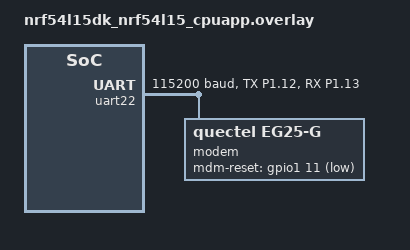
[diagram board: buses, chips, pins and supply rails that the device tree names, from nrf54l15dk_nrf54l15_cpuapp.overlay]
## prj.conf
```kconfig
# Copyright (c) 2023 Bjarki Arge Andreasen
# SPDX-License-Identifier: Apache-2.0

CONFIG_POSIX_API=y

# Networking
CONFIG_NETWORKING=y
CONFIG_NET_NATIVE=y
CONFIG_NET_L2_PPP=y
CONFIG_NET_IPV4=y
CONFIG_NET_IPV6=n
CONFIG_NET_UDP=y
CONFIG_NET_SOCKETS=y
CONFIG_NET_CONTEXT_RCVTIMEO=y

# DNS
CONFIG_DNS_RESOLVER=y
CONFIG_NET_L2_PPP_OPTION_DNS_USE=y

# Network management
CONFIG_NET_MGMT=y
CONFIG_NET_MGMT_EVENT=y
CONFIG_NET_CONNECTION_MANAGER=y

# Modem driver
CONFIG_MODEM=y
CONFIG_PM_DEVICE=y
CONFIG_MODEM_CELLULAR=y

# Statistics
CONFIG_MODEM_STATS=y
CONFIG_SHELL=y

# Testing
CONFIG_MODEM_AT_SHELL=y
CONFIG_PM_DEVICE_SHELL=y
CONFIG_SHELL_WILDCARD=n

# Logging

# For extra verbosity
# CONFIG_MODEM_CMUX_LOG_LEVEL_DBG=y
# CONFIG_LOG_BUFFER_SIZE=65536


CONFIG_UART_ASYNC_API=y
CONFIG_UART_LOG_LEVEL_DBG=y
CONFIG_MODEM_CELLULAR_APN="cmiot"
CONFIG_ZVFS_POLL_MAX=5


CONFIG_DNS_RESOLVER=y
CONFIG_NET_SHELL=y
CONFIG_DNS_RESOLVER_MAX_SERVERS=2
CONFIG_DNS_SERVER_IP_ADDRESSES=y
CONFIG_DNS_NUM_CONCUR_QUERIES=5
# Use local dnsmasq server for testing
# CONFIG_DNS_SERVER1="[2001:db8::2]:15353"
# CONFIG_DNS_SERVER2="192.0.2.2:15353"

# Google DNS IPv4 and IPv6 servers
CONFIG_DNS_SERVER1="8.8.8.8"
CONFIG_DNS_RESOLVER_LOG_LEVEL_DBG=y
# Enable additional buffers
CONFIG_DNS_RESOLVER_ADDITIONAL_BUF_CTR=5
# Enable additional queries
CONFIG_DNS_RESOLVER_ADDITIONAL_QUERIES=2
CONFIG_ZVFS_POLL_MAX=16 
CONFIG_ZVFS_OPEN_MAX=16
CONFIG_MODEM_CELLULAR_UART_BUFFER_SIZES=6000
CONFIG_MODEM_CELLULAR_USER_PIPE_BUFFER_SIZES=4200
# CONFIG_MODEM_CELLULAR_CMUX_MAX_FRAME_SIZE=1024
CONFIG_MODEM_CMUX_MTU=1500
CONFIG_MODEM_CMUX_WORK_BUFFER_SIZE=1507
CONFIG_MODEM_PPP_NET_BUF_FRAG_SIZE=1500

# CONFIG_NET_PKT_LOG_LEVEL_DBG=y
# CONFIG_NET_PKT_RX_COUNT=16
CONFIG_NET_PKT_TX_COUNT=16
CONFIG_NET_BUF_TX_COUNT=16
CONFIG_NET_BUF_RX_COUNT=16
CONFIG_NET_BUF_POOL_USAGE=y
CONFIG_NET_BUF_RX_COUNT=72
CONFIG_NET_PKT_RX_COUNT=36
# CONFIG_NET_BUF_DATA_POOL_SIZE=8192
CONFIG_MODEM_PPP_NET_BUF_FRAG_SIZE=512
# CONFIG_UART_MUX_RINGBUF_SIZE=1024
# CONFIG_NET_PPP_RINGBUF_SIZE=1024
# # Memory
# CONFIG_SYSTEM_WORKQUEUE_STACK_SIZE=4096
# CONFIG_MAIN_STACK_SIZE=5120
# CONFIG_HEAP_MEM_POOL_SIZE=153600
# CONFIG_HEAP_MEM_POOL_IGNORE_MIN=y
CONFIG_LOG=y
CONFIG_MODEM_MODULES_LOG_LEVEL_DBG=y
CONFIG_NET_L2_PPP_LOG_LEVEL_DBG=y
CONFIG_NET_CORE_LOG_LEVEL_DBG=y
CONFIG_NET_LOG=y
CONFIG_NET_CORE_LOG_LEVEL_DBG=y
CONFIG_NET_IF_LOG_LEVEL_DBG=y
```

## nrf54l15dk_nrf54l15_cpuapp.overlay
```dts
// To get started, press Ctrl+Space to bring up the completion menu and view the available nodes.

// You can also use the buttons in the sidebar to perform actions on nodes.
// Actions currently available include:

// * Enabling / disabling the node
// * Adding the bus to a bus
// * Removing the node
// * Connecting ADC channels

// For more help, browse the DeviceTree documentation at https: //docs.zephyrproject.org/latest/guides/dts/index.html
// You can also visit the nRF DeviceTree extension documentation at https: //docs.nordicsemi.com/bundle/nrf-connect-vscode/page/guides/ncs_configure_app.html#devicetree-support-in-the-extension
/ {
	aliases {
			modem = &modem;
	};
};

// &uart30 {
// 	status = "okay";
// 	modem: modem {
// 		compatible = "quectel,eg25-g";
// 		mdm-reset-gpios = <&gpio1 11 GPIO_ACTIVE_HIGH>;
// 		status = "okay";
// 	};
// };

// &uart30_default {
// 	group1 {
// 		psels = <NRF_PSEL(UART_TX, 0, 0)>;
// 	};

// 	group2 {
// 		psels = <NRF_PSEL(UART_RX, 0, 1)>;
// 		bias-pull-up;
// 	};
// };

&uart22 {
	current-speed = <115200>;
	// current-speed = <921600>;
	status = "okay";
	pinctrl-0 = <&uart22_default>;
	pinctrl-1 = <&uart22_sleep>;
	pinctrl-names = "default", "sleep";
	modem: modem {
		compatible = "quectel,eg25-g";
		mdm-reset-gpios = <&gpio1 11 GPIO_ACTIVE_LOW>;
		status = "okay";
	};
};

&pinctrl {
	uart22_default: uart22_default {
		group1 {
			psels = <NRF_PSEL(UART_TX, 1, 12)>;
		};

		group2 {
			psels = <NRF_PSEL(UART_RX, 1, 13)>;
			bias-pull-up;
		};
	};
	uart22_sleep: uart30_sleep {
		group1 {
			psels = <NRF_PSEL(UART_TX, 1, 12)>,
				<NRF_PSEL(UART_RX, 1, 13)>;
			low-power-enable;
		};
	};
};
```

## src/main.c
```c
/*
 * Copyright (c) 2023, Bjarki Arge Andreasen
 *
 * SPDX-License-Identifier: Apache-2.0
 */

#include <stdint.h>
#include <zephyr/device.h>
#include <zephyr/kernel.h>
#include <zephyr/net/socket.h>
#include <zephyr/net/net_if.h>
#include <zephyr/net/dns_resolve.h>
#include <zephyr/pm/device.h>
#include <zephyr/pm/device_runtime.h>
#include <string.h>

#include <zephyr/drivers/cellular.h>
#include "arpa/inet.h"
#include "zephyr/net/net_ip.h"

#define SAMPLE_TEST_ENDPOINT_HOSTNAME         ("www.baidu.com")
#define SAMPLE_TEST_ENDPOINT_UDP_ECHO_PORT    (43603)
#define SAMPLE_TEST_ENDPOINT_UDP_RECEIVE_PORT (43603)
#define SAMPLE_TEST_PACKET_SIZE               (1024)
#define SAMPLE_TEST_ECHO_PACKETS              (16)
#define SAMPLE_TEST_TRANSMIT_PACKETS          (8)

const struct device* modem = DEVICE_DT_GET(DT_ALIAS(modem));

static uint8_t sample_test_packet[SAMPLE_TEST_PACKET_SIZE];
static uint8_t sample_recv_buffer[SAMPLE_TEST_PACKET_SIZE];
static bool sample_test_dns_in_progress;
static struct dns_addrinfo sample_test_dns_addrinfo;

K_SEM_DEFINE(dns_query_sem, 0, 1);

static uint8_t sample_prng_random(void) {
    static uint32_t prng_state = 1234;

    prng_state = ((1103515245 * prng_state) + 12345) % (1U << 31);
    return (uint8_t)(prng_state & 0xFF);
}

static void init_sample_test_packet(void) {
    for (size_t i = 0; i < sizeof(sample_test_packet); i++) {
        sample_test_packet[i] = sample_prng_random();
    }
}

static void print_cellular_info(void) {
    int rc;
    int16_t rssi;
    char buffer[64];

    rc = cellular_get_signal(modem, CELLULAR_SIGNAL_RSSI, &rssi);
    if (!rc) {
        printk("RSSI %d\n", rssi);
    }

    rc = cellular_get_modem_info(modem, CELLULAR_MODEM_INFO_IMEI, &buffer[0], sizeof(buffer));
    if (!rc) {
        printk("IMEI: %s\n", buffer);
    }
    rc = cellular_get_modem_info(modem, CELLULAR_MODEM_INFO_MODEL_ID, &buffer[0], sizeof(buffer));
    if (!rc) {
        printk("MODEL_ID: %s\n", buffer);
    }
    rc = cellular_get_modem_info(modem,
                                 CELLULAR_MODEM_INFO_MANUFACTURER,
                                 &buffer[0],
                                 sizeof(buffer));
    if (!rc) {
        printk("MANUFACTURER: %s\n", buffer);
    }
    rc = cellular_get_modem_info(modem, CELLULAR_MODEM_INFO_SIM_IMSI, &buffer[0], sizeof(buffer));
    if (!rc) {
        printk("SIM_IMSI: %s\n", buffer);
    }
    rc = cellular_get_modem_info(modem, CELLULAR_MODEM_INFO_SIM_ICCID, &buffer[0], sizeof(buffer));
    if (!rc) {
        printk("SIM_ICCID: %s\n", buffer);
    }
    rc = cellular_get_modem_info(modem, CELLULAR_MODEM_INFO_FW_VERSION, &buffer[0], sizeof(buffer));
    if (!rc) {
        printk("FW_VERSION: %s\n", buffer);
    }
}

static void sample_dns_request_result(enum dns_resolve_status status,
                                      struct dns_addrinfo* info,
                                      void* user_data) {
    if (sample_test_dns_in_progress == false) {
        return;
    }

    if (status != DNS_EAI_INPROGRESS) {
        return;
    }

    sample_test_dns_in_progress = false;
    sample_test_dns_addrinfo    = *info;
    k_sem_give(&dns_query_sem);
}

static int sample_dns_request(void) {
    static uint16_t dns_id;
    int ret;

    sample_test_dns_in_progress = true;
    ret                         = dns_get_addr_info(SAMPLE_TEST_ENDPOINT_HOSTNAME,
                            DNS_QUERY_TYPE_A,
                            &dns_id,
                            sample_dns_request_result,
                            NULL,
                            19000);
    if (ret < 0) {
        return -EAGAIN;
    }

    if (k_sem_take(&dns_query_sem, K_SECONDS(20)) < 0) {
        return -EAGAIN;
    }

    return 0;
}

int sample_echo_packet(struct sockaddr* ai_addr, socklen_t ai_addrlen, uint16_t* port) {
    int ret;
    int socket_fd;
    uint32_t packets_sent = 0;
    uint32_t send_start_ms;
    uint32_t echo_received_ms;
    uint32_t accumulated_ms = 0;

    printk("Opening UDP socket\n");

    socket_fd = socket(AF_INET, SOCK_DGRAM, IPPROTO_UDP);
    if (socket_fd < 0) {
        printk("Failed to open socket (%d)\n", errno);
        return -1;
    }

    {
        const struct timeval tv = {.tv_sec = 10};

        if (zsock_setsockopt(socket_fd, SOL_SOCKET, SO_RCVTIMEO, &tv, sizeof(tv)) < 0) {
            printk("Failed to set socket receive timeout (%d)\n", errno);
            return -1;
        }
    }

    printk("Socket opened\n");

    *port = htons(SAMPLE_TEST_ENDPOINT_UDP_ECHO_PORT);

    for (uint32_t i = 0; i < SAMPLE_TEST_ECHO_PACKETS; i++) {
        printk("Sending echo packet\n");
        send_start_ms = k_uptime_get_32();

        ret = sendto(socket_fd,
                     sample_test_packet,
                     sizeof(sample_test_packet),
                     0,
                     ai_addr,
                     ai_addrlen);

        if (ret < sizeof(sample_test_packet)) {
            printk("Failed to send sample test packet\n");
            continue;
        }

        printk("Receiving echoed packet\n");
        ret = recv(socket_fd, sample_recv_buffer, sizeof(sample_recv_buffer), 0);
        if (ret != sizeof(sample_test_packet)) {
            if (ret == -1) {
                printk("Failed to receive echoed sample test packet (%d)\n", errno);
            } else {
                printk("Echoed sample test packet has incorrect size (%d)\n", ret);
            }
            continue;
        }

        echo_received_ms = k_uptime_get_32();

        if (memcmp(sample_test_packet, sample_recv_buffer, sizeof(sample_recv_buffer)) != 0) {
            printk("Echoed sample test packet data mismatch\n");
            continue;
        }

        packets_sent++;
        accumulated_ms += echo_received_ms - send_start_ms;

        printk("Echo transmit time %ums\n", echo_received_ms - send_start_ms);
    }

    printk("Successfully sent and received %u of %u packets\n",
           packets_sent,
           SAMPLE_TEST_ECHO_PACKETS);

    if (packets_sent > 0) {
        printk("Average time per successful echo: %u ms\n", accumulated_ms / packets_sent);
    }

    printk("Close UDP socket\n");

    ret = close(socket_fd);
    if (ret < 0) {
        printk("Failed to close socket\n");
        return -1;
    }

    return 0;
}

int sample_transmit_packets(struct sockaddr* ai_addr, socklen_t ai_addrlen, uint16_t* port) {
    int ret;
    int socket_fd;
    uint32_t packets_sent = 0;
    uint32_t packets_received;
    uint32_t packets_dropped;
    uint32_t send_start_ms;
    uint32_t send_end_ms;

    printk("Opening UDP socket\n");

    socket_fd = socket(AF_INET, SOCK_DGRAM, IPPROTO_UDP);
    if (socket_fd < 0) {
        printk("Failed to open socket\n");
        return -1;
    }

    printk("Socket opened\n");

    *port = htons(SAMPLE_TEST_ENDPOINT_UDP_RECEIVE_PORT);

    printk("Sending %u packets\n", SAMPLE_TEST_TRANSMIT_PACKETS);
    send_start_ms = k_uptime_get_32();
    for (uint32_t i = 0; i < SAMPLE_TEST_TRANSMIT_PACKETS; i++) {
        ret = sendto(socket_fd,
                     sample_test_packet,
                     sizeof(sample_test_packet),
                     0,
                     ai_addr,
                     ai_addrlen);

        if (ret < sizeof(sample_test_packet)) {
            printk("Failed to send sample test packet\n");
            break;
        }

        packets_sent++;
    }
    send_end_ms = k_uptime_get_32();

    printk("Awaiting response from server\n");
    ret = recv(socket_fd, sample_recv_buffer, sizeof(sample_recv_buffer), 0);
    if (ret != 2) {
        printk("Invalid response\n");
        return -1;
    }

    packets_received = sample_recv_buffer[0];
    packets_dropped  = sample_recv_buffer[1];
    printk("Server received %u/%u packets\n", packets_received, packets_sent);
    printk("Server dropped %u packets\n", packets_dropped);
    printk("Time elapsed sending packets %ums\n", send_end_ms - send_start_ms);
    printk("Throughput %u bytes/s\n",
           ((SAMPLE_TEST_PACKET_SIZE * SAMPLE_TEST_TRANSMIT_PACKETS) * 1000)
               / (send_end_ms - send_start_ms));

    printk("Close UDP socket\n");
    ret = close(socket_fd);
    if (ret < 0) {
        printk("Failed to close socket\n");
        return -1;
    }

    return 0;
}

int main(void) {
    struct net_if* const iface = net_if_get_first_by_type(&NET_L2_GET_NAME(PPP));
    uint16_t* port;
    int ret;

    init_sample_test_packet();

    printk("Powering on modem\n");
    pm_device_action_run(modem, PM_DEVICE_ACTION_RESUME);

    printk("Bring up network interface\n");
    ret = net_if_up(iface);
    if (ret < 0) {
        printk("Failed to bring up network interface\n");
        return -1;
    }

    printk("Waiting for L4 connected\n");
    ret = net_mgmt_event_wait_on_iface(iface,
                                       NET_EVENT_L4_CONNECTED,
                                       NULL,
                                       NULL,
                                       NULL,
                                       K_SECONDS(120));

    if (ret != 0) {
        printk("L4 was not connected in time\n");
        return -1;
    }

    printk("Waiting for DNS server added\n");
    ret = net_mgmt_event_wait_on_iface(iface,
                                       NET_EVENT_DNS_SERVER_ADD,
                                       NULL,
                                       NULL,
                                       NULL,
                                       K_SECONDS(10));
    if (ret) {
        printk("DNS server was not added in time\n");
        return -1;
    }

    printk("Retrieving cellular info\n");
    print_cellular_info();

    printk("Performing DNS lookup of %s\n", SAMPLE_TEST_ENDPOINT_HOSTNAME);
    ret = sample_dns_request();
    // resolve www.baidu.com would success, but cannot send udp packet to www.baidu.com
    if (ret < 0) {
        printk("DNS query failed\n");
        return -1;
    }

    {
        char* ip_echo                                        = "112.125.89.8";
        uint16_t ip_echo_port                                = 43603;
        net_sin(&sample_test_dns_addrinfo.ai_addr)->sin_port = htons(ip_echo_port);
        inet_pton(sample_test_dns_addrinfo.ai_addr.sa_family,
                  ip_echo,
                  &net_sin(&sample_test_dns_addrinfo.ai_addr)->sin_addr);
        sample_test_dns_addrinfo.ai_addrlen = sizeof(struct sockaddr_in);
        char ip_str[INET6_ADDRSTRLEN];
        const void* src;

        switch (sample_test_dns_addrinfo.ai_addr.sa_family) {
            case AF_INET:
                src  = &net_sin(&sample_test_dns_addrinfo.ai_addr)->sin_addr;
                port = &net_sin(&sample_test_dns_addrinfo.ai_addr)->sin_port;
                break;
            case AF_INET6:
                src  = &net_sin6(&sample_test_dns_addrinfo.ai_addr)->sin6_addr;
                port = &net_sin6(&sample_test_dns_addrinfo.ai_addr)->sin6_port;
                break;
            default: printk("Unsupported address family\n"); return -1;
        }
        inet_ntop(sample_test_dns_addrinfo.ai_addr.sa_family, src, ip_str, sizeof(ip_str));
        printk("Resolved to %s\n", ip_str);
        printk("Port %d\n", ntohs(*port));
    }

    ret = sample_echo_packet(&sample_test_dns_addrinfo.ai_addr,
                             sample_test_dns_addrinfo.ai_addrlen,
                             port);

    if (ret < 0) {
        printk("Failed to send echos\n");
        return -1;
    }

    ret = sample_transmit_packets(&sample_test_dns_addrinfo.ai_addr,
                                  sample_test_dns_addrinfo.ai_addrlen,
                                  port);

    if (ret < 0) {
        printk("Failed to send packets\n");
        return -1;
    }

    printk("Restart modem\n");
    ret = pm_device_action_run(modem, PM_DEVICE_ACTION_SUSPEND);
    if (ret != 0) {
        printk("Failed to power down modem\n");
        return -1;
    }

    pm_device_action_run(modem, PM_DEVICE_ACTION_RESUME);

    printk("Waiting for L4 connected\n");
    ret = net_mgmt_event_wait_on_iface(iface,
                                       NET_EVENT_L4_CONNECTED,
                                       NULL,
                                       NULL,
                                       NULL,
                                       K_SECONDS(60));
    if (ret != 0) {
        printk("L4 was not connected in time\n");
        return -1;
    }
    printk("L4 connected\n");

    /* Wait a bit to avoid (unsuccessfully) trying to send the first echo packet too quickly. */
    k_sleep(K_SECONDS(5));

    ret = sample_echo_packet(&sample_test_dns_addrinfo.ai_addr,
                             sample_test_dns_addrinfo.ai_addrlen,
                             port);

    if (ret < 0) {
        printk("Failed to send echos after restart\n");
        return -1;
    }

    ret = net_if_down(iface);
    if (ret < 0) {
        printk("Failed to bring down network interface\n");
        return -1;
    }

    printk("Powering down modem\n");
    ret = pm_device_action_run(modem, PM_DEVICE_ACTION_SUSPEND);
    if (ret != 0) {
        printk("Failed to power down modem\n");
        return -1;
    }

    printk("Sample complete\n");
    return 0;
}
```
